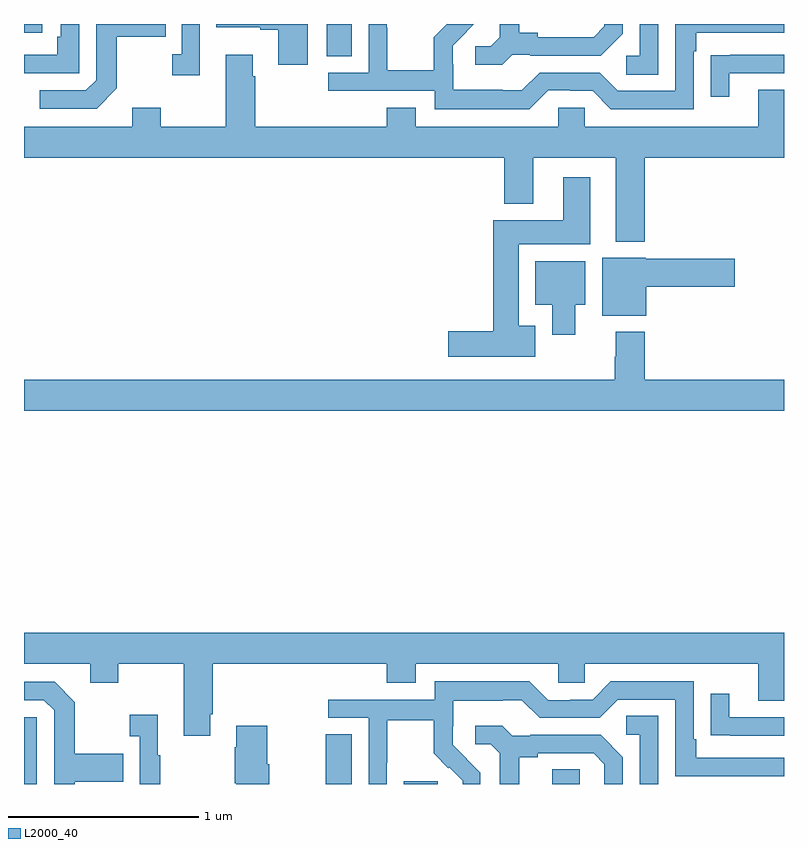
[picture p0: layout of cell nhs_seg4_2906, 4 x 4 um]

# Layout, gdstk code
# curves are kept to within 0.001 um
import gdstk
lib = gdstk.Library(unit=1e-6, precision=1e-09)
def R(c, l, rs):  # rectangles x0, y0, x1, y1
    for r in rs: c.add(gdstk.rectangle(r[:2], r[2:], *l))
def P(c, l, *ps):  # polygons
    for p in ps: c.add(gdstk.Polygon(p, *l))
L2000_40 = (2000, 40)

nhs_seg4_2906 = lib.new_cell('nhs_seg4_2906')
R(nhs_seg4_2906, L2000_40, [(265,750.9,265.068,751.251), (266.587,750.9,266.725,751.163), (266.999,750.9,267.178,750.915), (267.779,750.9,267.924,750.977), (266.594,754.729,266.725,754.9), (265,754.854,265.096,754.9)])
P(nhs_seg4_2906, L2000_40, [(265.489,754.561),(265.489,754.834),(265.745,754.834),(265.745,754.9),(265.38,754.9),(265.38,754.605),(265.326,754.551),(265.083,754.551),(265.083,754.455),(265.383,754.455)],
  [(266.494,754.9),(266.013,754.9),(266.013,754.883),(266.243,754.883),(266.243,754.871),(266.339,754.871),(266.339,754.686),(266.494,754.686)],
  [(265.926,754.9),(265.83,754.9),(265.83,754.742),(265.779,754.742),(265.779,754.629),(265.926,754.629)],
  [(265.29,754.9),(265.194,754.9),(265.194,754.834),(265.174,754.834),(265.174,754.737),(265,754.737),(265,754.641),(265.29,754.641)],
  [(267.759,754.551),(267.875,754.551),(267.875,754.548),(267.993,754.548),(268.089,754.452),(268.524,754.452),(268.524,754.757),(268.537,754.757),(268.537,754.854),(269,754.854),(269,754.9),(268.428,754.9),(268.428,754.548),(268.125,754.548),(268.029,754.644),(267.714,754.644),(267.621,754.551),(267.521,754.551),(267.521,754.555),(267.258,754.555),(267.258,754.689),(267.256,754.689),(267.256,754.786),(267.368,754.9),(267.226,754.9),(267.157,754.831),(267.157,754.657),(266.913,754.657),(266.913,754.88),(266.91,754.88),(266.91,754.9),(266.814,754.9),(266.814,754.644),(266.601,754.644),(266.601,754.548),(267.162,754.548),(267.162,754.451),(267.659,754.451)],
  [(267.57,754.737),(267.664,754.737),(267.664,754.734),(268.036,754.734),(268.152,754.85),(268.152,754.9),(268.055,754.9),(268.055,754.887),(267.998,754.83),(267.703,754.83),(267.703,754.853),(267.607,754.853),(267.607,754.9),(267.503,754.9),(267.503,754.829),(267.456,754.782),(267.375,754.782),(267.375,754.685),(267.518,754.685)],
  [(268.338,754.9),(268.242,754.9),(268.242,754.734),(268.17,754.734),(268.17,754.633),(268.338,754.633)],
  [(268.268,754.196),(269,754.196),(269,754.555),(268.865,754.555),(268.865,754.36),(267.951,754.36),(267.951,754.458),(267.813,754.458),(267.813,754.36),(267.061,754.36),(267.061,754.459),(266.909,754.459),(266.909,754.36),(266.216,754.36),(266.216,754.625),(266.203,754.625),(266.203,754.738),(266.063,754.738),(266.063,754.36),(265.719,754.36),(265.719,754.459),(265.571,754.459),(265.571,754.36),(265,754.36),(265,754.196),(267.527,754.196),(267.527,753.953),(267.679,753.953),(267.679,754.196),(268.115,754.196),(268.115,753.755),(268.268,753.755)],
  [(268.711,754.641),(269,754.641),(269,754.737),(268.717,754.737),(268.717,754.736),(268.615,754.736),(268.615,754.518),(268.711,754.518)],
  [(267.691,753.313),(267.604,753.313),(267.604,753.74),(267.979,753.74),(267.979,754.093),(267.839,754.093),(267.839,753.868),(267.47,753.868),(267.47,753.284),(267.234,753.284),(267.234,753.149),(267.691,753.149)],
  [(268.276,753.518),(268.741,753.518),(268.741,753.665),(268.272,753.665),(268.272,753.67),(268.043,753.67),(268.043,753.365),(268.276,753.365)],
  [(267.901,753.422),(267.955,753.422),(267.955,753.652),(267.692,753.652),(267.692,753.422),(267.779,753.422),(267.779,753.264),(267.901,753.264)],
  [(269,753.028),(268.268,753.028),(268.268,753.28),(268.115,753.28),(268.115,753.149),(268.108,753.149),(268.108,753.028),(265,753.028),(265,752.864),(269,752.864)],
  [(265.981,751.267),(265.994,751.267),(265.994,751.532),(266.909,751.532),(266.909,751.433),(267.061,751.433),(267.061,751.532),(267.813,751.532),(267.813,751.434),(267.951,751.434),(267.951,751.532),(268.865,751.532),(268.865,751.338),(269,751.338),(269,751.696),(265,751.696),(265,751.532),(265.349,751.532),(265.349,751.433),(265.497,751.433),(265.497,751.532),(265.841,751.532),(265.841,751.155),(265.981,751.155)],
  [(266.91,751.012),(266.913,751.012),(266.913,751.236),(267.157,751.236),(267.157,751.061),(267.234,750.984),(267.237,750.987),(267.308,750.917),(267.308,750.9),(267.402,750.9),(267.402,750.958),(267.256,751.106),(267.256,751.203),(267.258,751.203),(267.258,751.337),(267.521,751.337),(267.521,751.341),(267.621,751.341),(267.714,751.248),(268.029,751.248),(268.125,751.344),(268.428,751.344),(268.428,750.942),(269,750.942),(269,751.038),(268.537,751.038),(268.537,751.135),(268.524,751.135),(268.524,751.44),(268.089,751.44),(267.993,751.344),(267.875,751.344),(267.875,751.341),(267.759,751.341),(267.659,751.441),(267.162,751.441),(267.162,751.344),(266.601,751.344),(266.601,751.248),(266.814,751.248),(266.814,750.9),(266.91,750.9)],
  [(265.267,750.911),(265.523,750.911),(265.523,751.059),(265.267,751.059),(265.267,751.331),(265.161,751.437),(265,751.437),(265,751.341),(265.104,751.341),(265.158,751.287),(265.158,750.9),(265.267,750.9)],
  [(269,751.251),(268.711,751.251),(268.711,751.375),(268.615,751.375),(268.615,751.156),(268.717,751.156),(268.717,751.155),(269,751.155)],
  [(265.717,751.051),(265.705,751.051),(265.705,751.264),(265.557,751.264),(265.557,751.151),(265.608,751.151),(265.608,750.9),(265.717,750.9)],
  [(268.338,751.259),(268.17,751.259),(268.17,751.158),(268.242,751.158),(268.242,750.9),(268.338,750.9)],
  [(266.29,751.005),(266.28,751.005),(266.28,751.207),(266.117,751.207),(266.117,751.094),(266.11,751.094),(266.11,750.905),(266.117,750.905),(266.117,750.9),(266.29,750.9)],
  [(267.607,751.04),(267.703,751.04),(267.703,751.062),(267.998,751.062),(268.055,751.005),(268.055,750.9),(268.152,750.9),(268.152,751.042),(268.036,751.158),(267.664,751.158),(267.664,751.155),(267.57,751.155),(267.518,751.207),(267.375,751.207),(267.375,751.11),(267.456,751.11),(267.503,751.063),(267.503,750.9),(267.607,750.9)])

lib.write_gds('nhs_seg4_2906.gds')
